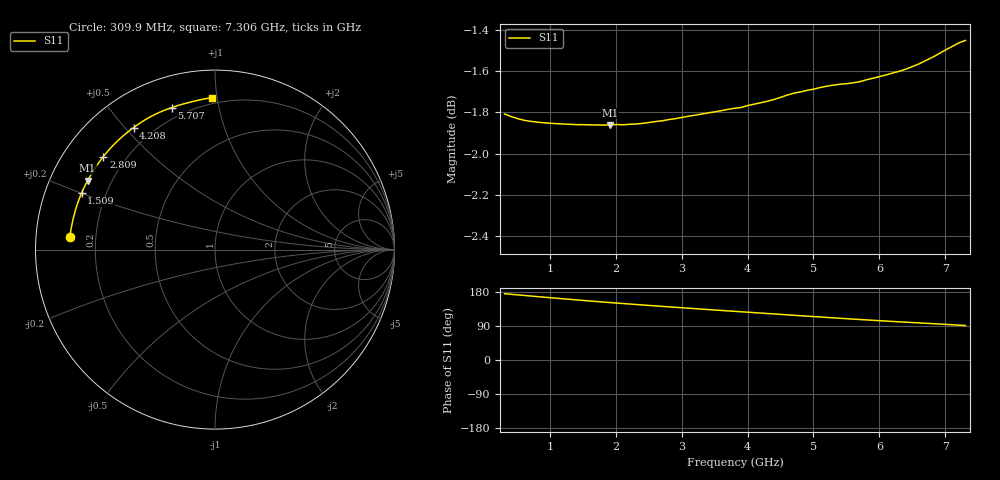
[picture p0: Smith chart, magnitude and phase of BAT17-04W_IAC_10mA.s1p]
! Infineon Technologies  Discrete & RF Semiconductors
! BAT17-04W
! IAC = 10 mA
! One-Port S-Parameters
# Hz  S  MA  R  50
!f  S11
!Hz  Mag  Ang
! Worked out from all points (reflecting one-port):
!   71 points, 309.9 MHz to 7.306 GHz, reference 50 ohm
!   lowest |S11| = -1.9 dB at 1.909 GHz (marker M1), VSWR 9.37, Z = 5.67 + j12.5 ohm
!   phase of S11 starts at 175 deg and turns -84 deg over the sweep
!   S11 on the Smith chart (normalised r, x): 309.9 MHz: 0.10, +0.04; 1.509 GHz: 0.11, +0.20; 2.809 GHz: 0.12, +0.36; 4.208 GHz: 0.13, +0.53; 5.707 GHz: 0.15, +0.73; 7.306 GHz: 0.16, +0.97
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3.0985e8  0.8121 174.8
5.0975e8  0.81 171.8
8.096e8  0.8084 167.3
1.0095e9  0.8079 164.3
1.2094e9  0.8075 161.4
1.50925e9  0.8073 157.1
1.70915e9  0.8071 154.3
1.90905e9  0.8071 151.6
2.009e9  0.8073 150.3
2.10895e9  0.8072 149.0
2.30885e9  0.8076 146.4
2.50875e9  0.8083 143.9
2.8086e9  0.8096 140.2
3.0085e9  0.8106 137.8
3.4083e9  0.8126 133.0
3.8081e9  0.8147 128.4
4.2079e9  0.8173 123.7
4.50775e9  0.8198 120.3
4.70765e9  0.8216 118.0
4.90755e9  0.8229 115.7
5.2074e9  0.8248 112.3
5.4073e9  0.8257 110.0
5.6072e9  0.8264 107.9
5.70715e9  0.8269 106.8
6.007e9  0.8293 103.7
6.50675e9  0.834 98.8
7.0065e9  0.8418 94.0
7.30635e9  0.8462 90.9
